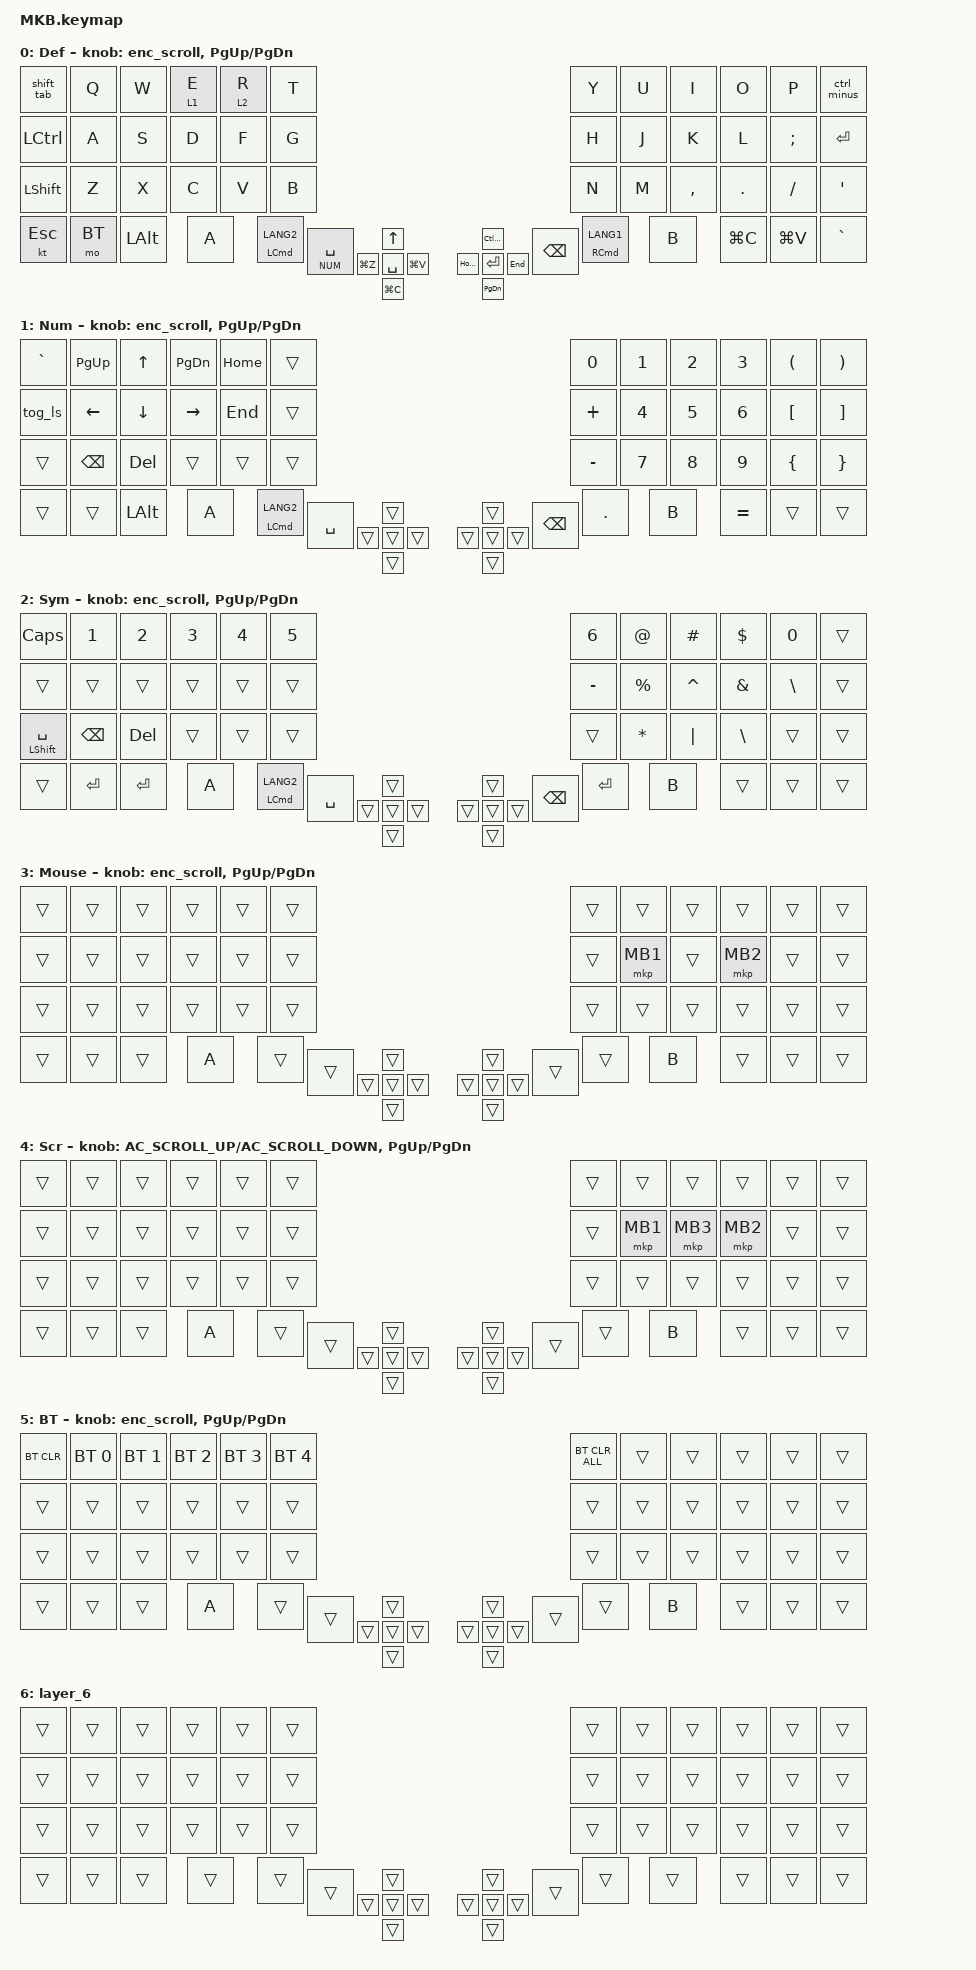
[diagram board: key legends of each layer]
// #include <layout_shift.dtsi>

#include <layout_shift_kp_override.dtsi>
#include <behaviors.dtsi>
#include <dt-bindings/zmk/bt.h>
#include <dt-bindings/zmk/keys.h>
#include <dt-bindings/zmk/pointing.h>

#define DEF 0
#define NUM 1
#define SYMBOL 2
#define MOUSE 3
#define SCROLL 4
#define BT 5

&mt {
    flavor = "balanced";
    tapping-term-ms = <280>;
    quick-tap-ms = <175>;
    require-prior-idle-ms = <150>;
};

/ {
    behaviors {
        ctrl_minus: ctrl_minus {
            compatible = "zmk,behavior-mod-morph";
            #binding-cells = <0>;
            bindings = <&kp MINUS>, <&kp ESC>;

            mods = <(MOD_LCTL|MOD_RCTL)>;
        };

        shift_tab: shift_tab {
            compatible = "zmk,behavior-mod-morph";
            #binding-cells = <0>;
            bindings = <&kp TAB>, <&kp EXCL>;

            mods = <(MOD_LSFT|MOD_RSFT)>;
        };
    };

    keymap {
        compatible = "zmk,keymap";

        default_layer {
            label = "Def";
            bindings = <
&shift_tab        &kp Q   &kp W      &lt 1 E    &lt 2 R                 &kp T              &kp Y          &kp U                    &kp I       &kp O      &kp P      &ctrl_minus
&kp LEFT_CONTROL  &kp A   &kp S      &kp D      &kp F                   &kp G              &kp H          &kp J                    &kp K       &kp L      &kp SEMI   &kp ENTER
&kp LSHFT         &kp Z   &kp X      &kp C      &kp V                   &kp B              &kp N          &kp M                    &kp COMMA   &kp DOT    &kp SLASH  &kp SQT
&kt ESC           &mo BT  &kp LALT              &mt LEFT_COMMAND LANG2  &lt NUM SPACE      &kp BACKSPACE  &mt RIGHT_COMMAND LANG1              &kp LG(C)  &kp LG(V)  &kp GRAVE
&kp LG(Z)         &kp UP  &kp SPACE  &kp LG(C)  &kp LG(V)                                                 &kp HOME                 &kp LC(UP)  &kp ENTER  &kp PG_DN  &kp END
                                     &kp A                                                                                         &kp B
            >;

            sensor-bindings = <&enc_scroll &inc_dec_kp PG_UP PG_DN>;
        };

        num_layer {
            label = "Num";
            bindings = <
&kp GRAVE  &kp PG_UP  &kp UP    &kp PG_DN  &kp HOME                &trans         &kp NUMBER_0   &kp NUMBER_1  &kp NUMBER_2  &kp NUMBER_3  &kp LEFT_PARENTHESIS  &kp RIGHT_PARENTHESIS
&tog_ls    &kp LEFT   &kp DOWN  &kp RIGHT  &kp END                 &trans         &kp PLUS       &kp NUMBER_4  &kp NUMBER_5  &kp NUMBER_6  &kp LEFT_BRACKET      &kp RIGHT_BRACKET
&trans     &kp BKSP   &kp DEL   &trans     &trans                  &trans         &kp MINUS      &kp NUMBER_7  &kp NUMBER_8  &kp NUMBER_9  &kp LEFT_BRACE        &kp RIGHT_BRACE
&trans     &trans     &kp LALT             &mt LEFT_COMMAND LANG2  &kp SPACE      &kp BACKSPACE  &kp PERIOD                  &kp EQUAL     &trans                &trans
&trans     &trans     &trans    &trans     &trans                                                &trans        &trans        &trans        &trans                &trans
                                &kp A                                                                          &kp B
            >;

            sensor-bindings = <&enc_scroll &inc_dec_kp PG_UP PG_DN>;
        };

        symbol_layer {
            label = "Sym";
            bindings = <
&kp CAPS         &kp N1         &kp N2     &kp N3  &kp N4                  &kp N5         &kp N6         &kp AT_SIGN   &kp HASH   &kp DOLLAR     &kp N0    &trans
&trans           &trans         &trans     &trans  &trans                  &trans         &kp MINUS      &kp PERCENT   &kp CARET  &kp AMPERSAND  &kp BSLH  &trans
&mt LSHFT SPACE  &kp BACKSPACE  &kp DEL    &trans  &trans                  &trans         &trans         &kp ASTERISK  &kp PIPE   &kp BACKSLASH  &trans    &trans
&trans           &kp ENTER      &kp ENTER          &mt LEFT_COMMAND LANG2  &kp SPACE      &kp BACKSPACE  &kp ENTER                &trans         &trans    &trans
&trans           &trans         &trans     &trans  &trans                                                &trans        &trans     &trans         &trans    &trans
                                           &kp A                                                                       &kp B
            >;

            sensor-bindings = <&enc_scroll &inc_dec_kp PG_UP PG_DN>;
        };

        mouse_layer {
            label = "Mouse";
            bindings = <
&trans  &trans  &trans  &trans  &trans  &trans      &trans  &trans    &trans  &trans    &trans  &trans
&trans  &trans  &trans  &trans  &trans  &trans      &trans  &mkp MB1  &trans  &mkp MB2  &trans  &trans
&trans  &trans  &trans  &trans  &trans  &trans      &trans  &trans    &trans  &trans    &trans  &trans
&trans  &trans  &trans          &trans  &trans      &trans  &trans            &trans    &trans  &trans
&trans  &trans  &trans  &trans  &trans                      &trans    &trans  &trans    &trans  &trans
                        &kp A                                         &kp B
            >;

            sensor-bindings = <&enc_scroll &inc_dec_kp PG_UP PG_DN>;
        };

        scroll_layer {
            label = "Scr";
            bindings = <
&trans  &trans  &trans  &trans  &trans  &trans      &trans  &trans    &trans    &trans    &trans  &trans
&trans  &trans  &trans  &trans  &trans  &trans      &trans  &mkp MB1  &mkp MB3  &mkp MB2  &trans  &trans
&trans  &trans  &trans  &trans  &trans  &trans      &trans  &trans    &trans    &trans    &trans  &trans
&trans  &trans  &trans          &trans  &trans      &trans  &trans              &trans    &trans  &trans
&trans  &trans  &trans  &trans  &trans                      &trans    &trans    &trans    &trans  &trans
                        &kp A                                         &kp B
            >;

            sensor-bindings =
                <&inc_dec_kp C_AC_SCROLL_UP C_AC_SCROLL_DOWN>,
                <&inc_dec_kp PG_UP PG_DN>;
        };

        bt_layer {
            label = "BT";
            bindings = <
&bt BT_CLR  &bt BT_SEL 0  &bt BT_SEL 1  &bt BT_SEL 2  &bt BT_SEL 3  &bt BT_SEL 4      &bt BT_CLR_ALL  &trans  &trans  &trans  &trans  &trans
&trans      &trans        &trans        &trans        &trans        &trans            &trans          &trans  &trans  &trans  &trans  &trans
&trans      &trans        &trans        &trans        &trans        &trans            &trans          &trans  &trans  &trans  &trans  &trans
&trans      &trans        &trans                      &trans        &trans            &trans          &trans          &trans  &trans  &trans
&trans      &trans        &trans        &trans        &trans                                          &trans  &trans  &trans  &trans  &trans
                                        &kp A                                                                 &kp B
            >;

            sensor-bindings = <&enc_scroll &inc_dec_kp PG_UP PG_DN>;
        };

        layer_6 {
            bindings = <
&trans  &trans  &trans  &trans  &trans  &trans      &trans  &trans  &trans  &trans  &trans  &trans
&trans  &trans  &trans  &trans  &trans  &trans      &trans  &trans  &trans  &trans  &trans  &trans
&trans  &trans  &trans  &trans  &trans  &trans      &trans  &trans  &trans  &trans  &trans  &trans
&trans  &trans  &trans          &trans  &trans      &trans  &trans          &trans  &trans  &trans
&trans  &trans  &trans  &trans  &trans                      &trans  &trans  &trans  &trans  &trans
                        &trans                                      &trans
            >;
        };
    };
};
